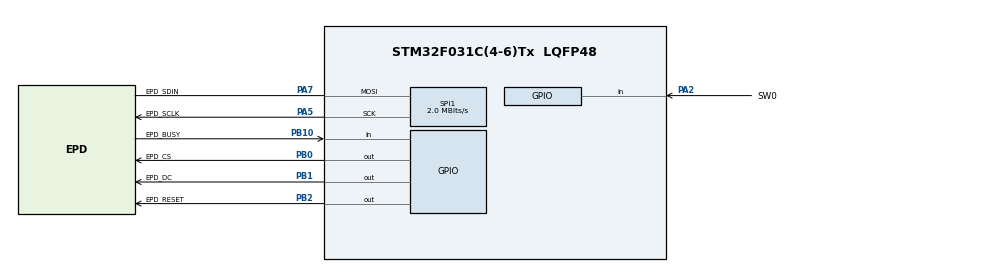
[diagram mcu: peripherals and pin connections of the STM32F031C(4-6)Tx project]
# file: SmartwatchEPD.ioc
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Mcu.Family=STM32F0
Mcu.Name=STM32F031C(4-6)Tx
Mcu.Package=LQFP48
PA2.GPIO_Label=SW0
PA2.GPIO_PuPd=GPIO_PULLUP
PA2.Signal=GPIO_Input
PA5.GPIO_Label=EPD_SCLK
PA5.Mode=Simplex_Bidirectional_Master
PA5.Signal=SPI1_SCK
PA7.GPIO_Label=EPD_SDIN
PA7.Mode=Simplex_Bidirectional_Master
PA7.Signal=SPI1_MOSI
PB0.GPIO_Label=EPD_CS
PB0.Signal=GPIO_Output
PB1.GPIO_Label=EPD_DC
PB1.Signal=GPIO_Output
PB10.GPIO_Label=EPD_BUSY
PB10.GPIO_PuPd=GPIO_PULLUP
PB10.Signal=GPIO_Input
PB2.GPIO_Label=EPD_RESET
PB2.Signal=GPIO_Output
ProjectManager.HeapSize=0x200
ProjectManager.StackSize=0x400
ProjectManager.TargetToolchain=TrueSTUDIO
SPI1.BaudRatePrescaler=SPI_BAUDRATEPRESCALER_4
SPI1.CalculateBaudRate=2.0 MBits/s
SPI1.DataSize=SPI_DATASIZE_8BIT
SPI1.Direction=SPI_DIRECTION_1LINE
SPI1.Mode=SPI_MODE_MASTER
SPI1.VirtualType=VM_MASTER
board=custom

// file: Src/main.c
/* USER CODE BEGIN Header */
/**
  ******************************************************************************
  * @file           : main.c
  * @brief          : Main program body
  ******************************************************************************
  ** This notice applies to any and all portions of this file
  * that are not between comment pairs USER CODE BEGIN and
  * USER CODE END. Other portions of this file, whether
  * inserted by the user or by software development tools
  * are owned by their respective copyright owners.
  *
  * COPYRIGHT(c) 2018 STMicroelectronics
  *
  * Redistribution and use in source and binary forms, with or without modification,
  * are permitted provided that the following conditions are met:
  *   1. Redistributions of source code must retain the above copyright notice,
  *      this list of conditions and the following disclaimer.
  *   2. Redistributions in binary form must reproduce the above copyright notice,
  *      this list of conditions and the following disclaimer in the documentation
  *      and/or other materials provided with the distribution.
  *   3. Neither the name of STMicroelectronics nor the names of its contributors
  *      may be used to endorse or promote products derived from this software
  *      without specific prior written permission.
  *
  * THIS SOFTWARE IS PROVIDED BY THE COPYRIGHT HOLDERS AND CONTRIBUTORS "AS IS"
  * AND ANY EXPRESS OR IMPLIED WARRANTIES, INCLUDING, BUT NOT LIMITED TO, THE
  * IMPLIED WARRANTIES OF MERCHANTABILITY AND FITNESS FOR A PARTICULAR PURPOSE ARE
  * DISCLAIMED. IN NO EVENT SHALL THE COPYRIGHT HOLDER OR CONTRIBUTORS BE LIABLE
  * FOR ANY DIRECT, INDIRECT, INCIDENTAL, SPECIAL, EXEMPLARY, OR CONSEQUENTIAL
  * DAMAGES (INCLUDING, BUT NOT LIMITED TO, PROCUREMENT OF SUBSTITUTE GOODS OR
  * SERVICES; LOSS OF USE, DATA, OR PROFITS; OR BUSINESS INTERRUPTION) HOWEVER
  * CAUSED AND ON ANY THEORY OF LIABILITY, WHETHER IN CONTRACT, STRICT LIABILITY,
  * OR TORT (INCLUDING NEGLIGENCE OR OTHERWISE) ARISING IN ANY WAY OUT OF THE USE
  * OF THIS SOFTWARE, EVEN IF ADVISED OF THE POSSIBILITY OF SUCH DAMAGE.
  *
  ******************************************************************************
  */
/* USER CODE END Header */

#include "main.h"

/* USER CODE BEGIN Includes */
#include "EPDlib.h"
/* USER CODE END Includes */

SPI_HandleTypeDef hspi1;

/* USER CODE BEGIN PV */

const uint8_t eti [] = {
0xFF, 0xFF, 0xFF, 0xFF, 0xFF, 0xFF, 0xFF, 0xFF, 0xFF, 0xFF, 0xFF, 0xFF, 0xFF, 0xFF, 0xFF, 0xFF,
0xFF, 0xFF, 0xFF, 0xFF, 0xFF, 0xFF, 0xFF, 0xFF, 0xFF, 0xFF, 0xFF, 0xFF, 0xFF, 0xFF, 0xFF, 0xFF,
0xFF, 0xFF, 0xFF, 0xFF, 0xFF, 0xFF, 0xFF, 0xFF, 0xFF, 0xFF, 0xFF, 0xFF, 0xFF, 0xFF, 0xFF, 0xFF,
0xFF, 0xFF, 0xFF, 0xFF, 0xFF, 0xFF, 0xFF, 0xFF, 0xFF, 0xFF, 0xFF, 0xFF, 0xFF, 0xFF, 0xFF, 0xFF,
0xFF, 0xFF, 0xFF, 0xFF, 0xFF, 0xFF, 0xFF, 0xFF, 0xFF, 0xFF, 0xFF, 0xFF, 0xFF, 0xFF, 0xFF, 0xFF,
0xFF, 0xFF, 0xFF, 0xFF, 0xFF, 0xFF, 0xFF, 0xFF, 0xFF, 0xFF, 0xFF, 0xFF, 0xFF, 0xFF, 0xFF, 0xFF,
0xFF, 0xFF, 0xFF, 0xFF, 0xFF, 0xFF, 0xFF, 0xFF, 0xFF, 0xFF, 0xFF, 0xFF, 0xFF, 0xFF, 0xFF, 0xFF,
0xFF, 0xFF, 0xFF, 0xFF, 0xFF, 0xFF, 0xFF, 0xFF, 0xFF, 0xFF, 0xFF, 0xFF, 0xFF, 0xFF, 0xFF, 0xFF,
0xFF, 0xFF, 0xFF, 0xFF, 0xFF, 0xFF, 0xFF, 0xFF, 0xFF, 0xFF, 0xFF, 0xFF, 0xFF, 0xFF, 0xFF, 0xFF,
0xFF, 0xFF, 0xFF, 0xFF, 0xFF, 0xFF, 0xFF, 0xFF, 0xFF, 0xFF, 0xFF, 0xFF, 0xFF, 0xFF, 0xFF, 0xFF,
0xFF, 0xFF, 0xFF, 0x07, 0x07, 0x07, 0x07, 0x07, 0x07, 0x07, 0x07, 0x07, 0x07, 0x07, 0x07, 0x07,
0x07, 0x07, 0x07, 0x07, 0x07, 0x07, 0x07, 0x07, 0x07, 0x07, 0x07, 0x07, 0x07, 0x07, 0x07, 0x07,
0x07, 0x07, 0x07, 0x07, 0x07, 0x07, 0x07, 0x07, 0x07, 0x07, 0x07, 0x07, 0x07, 0x07, 0x07, 0x07,
0x07, 0x07, 0x07, 0x07, 0x07, 0x07, 0x07, 0x07, 0x07, 0x07, 0x07, 0x07, 0x07, 0x07, 0x07, 0x07,
0x07, 0x07, 0x07, 0x07, 0x07, 0x07, 0x07, 0x07, 0x07, 0x07, 0xFF, 0xFF, 0xFF, 0xFF, 0xFF, 0xFF,
0xFF, 0xFF, 0xFF, 0xFF, 0xFF, 0x07, 0x07, 0x07, 0x07, 0x07, 0x07, 0x07, 0x07, 0x07, 0x07, 0x07,
0x07, 0x07, 0x07, 0x07, 0x07, 0x07, 0x07, 0x07, 0x07, 0x07, 0x07, 0x07, 0x07, 0x07, 0x07, 0x07,
0x07, 0x07, 0x07, 0x07, 0x07, 0x07, 0x07, 0x07, 0x07, 0x07, 0x07, 0x07, 0x07, 0x07, 0x07, 0x07,
0x07, 0x07, 0x07, 0x07, 0x07, 0x07, 0x07, 0x07, 0x07, 0x07, 0x07, 0x07, 0x07, 0x07, 0x07, 0x07,
0xFF, 0xFF, 0xFF, 0xFF, 0xFF, 0xFF, 0xFF, 0xFF, 0xFF, 0xFF, 0xFF, 0x00, 0x00, 0x00, 0x00, 0x00,
0x00, 0x00, 0x00, 0x00, 0x00, 0x00, 0x00, 0x00, 0x00, 0x00, 0x00, 0x00, 0x00, 0x00, 0x00, 0x00,
0x00, 0x00, 0x00, 0x00, 0x00, 0x00, 0x00, 0x00, 0x00, 0x00, 0x00, 0x00, 0x00, 0x00, 0x00, 0x00,
0x00, 0x00, 0x00, 0x00, 0x00, 0x00, 0x00, 0x00, 0x00, 0x00, 0x00, 0x00, 0x00, 0x00, 0x00, 0x00,
0x00, 0x00, 0x00, 0x00, 0x00, 0x00, 0x00, 0x00, 0x00, 0x00, 0x00, 0x00, 0x00, 0x00, 0x00, 0x00,
0x00, 0x00, 0xFF, 0xFF, 0xFF, 0xFF, 0xFF, 0xFF, 0xFF, 0xFF, 0xFF, 0xFF, 0xFF, 0x00, 0x00, 0x00,
0x00, 0x00, 0x00, 0x00, 0x00, 0x00, 0x00, 0x00, 0x00, 0x00, 0x00, 0x00, 0x00, 0x00, 0x00, 0x00,
0x00, 0x00, 0x00, 0x00, 0x00, 0x00, 0x00, 0x00, 0x00, 0x00, 0x00, 0x00, 0x00, 0x00, 0x00, 0x00,
0x00, 0x00, 0x00, 0x00, 0x00, 0x00, 0x00, 0x00, 0x00, 0x00, 0x00, 0x00, 0x00, 0x00, 0x00, 0x00,
0x00, 0x00, 0x00, 0x00, 0x00, 0x00, 0x00, 0x00, 0xFF, 0xFF, 0xFF, 0xFF, 0xFF, 0xFF, 0xFF, 0xFF,
0xFF, 0xFF, 0xFF, 0x00, 0x00, 0x00, 0x00, 0x00, 0x00, 0x00, 0x00, 0x00, 0x00, 0x00, 0x00, 0x00,
0x00, 0x00, 0x00, 0x00, 0x00, 0x00, 0x00, 0x00, 0x00, 0x00, 0x00, 0x00, 0x00, 0x00, 0x00, 0x00,
0x00, 0x00, 0x00, 0x00, 0x00, 0x00, 0x00, 0x00, 0x00, 0x00, 0x00, 0x00, 0x00, 0x00, 0x00, 0x00,
0x00, 0x00, 0x00, 0x00, 0x00, 0x00, 0x00, 0x00, 0x00, 0x00, 0x00, 0x00, 0x00, 0x00, 0x00, 0x00,
0x00, 0x00, 0x00, 0x00, 0x00, 0x00, 0x00, 0x00, 0x00, 0x00, 0xFF, 0xFF, 0xFF, 0xFF, 0xFF, 0xFF,
0xFF, 0xFF, 0xFF, 0xFF, 0xFF, 0x00, 0x00, 0x00, 0x00, 0x00, 0x00, 0x00, 0x00, 0x00, 0x00, 0x00,
0x00, 0x00, 0x00, 0x00, 0x00, 0x00, 0x00, 0x00, 0x00, 0x00, 0x00, 0x00, 0x00, 0x00, 0x00, 0x00,
0x00, 0x00, 0x00, 0x00, 0x00, 0x00, 0x00, 0x00, 0x00, 0x00, 0x00, 0x00, 0x00, 0x00, 0x00, 0x00,
0x00, 0x00, 0x00, 0x00, 0x00, 0x00, 0x00, 0x00, 0x00, 0x00, 0x00, 0x00, 0x00, 0x00, 0x00, 0x00,
0xFF, 0xFF, 0xFF, 0xFF, 0xFF, 0xFF, 0xFF, 0xFF, 0xFF, 0xFF, 0xFF, 0x00, 0x00, 0x00, 0x00, 0x00,
0x00, 0x00, 0x00, 0x00, 0x00, 0x00, 0x00, 0x00, 0x00, 0x00, 0x00, 0x00, 0x00, 0x00, 0x00, 0x00,
0x00, 0x00, 0x00, 0x00, 0x00, 0x00, 0x00, 0x00, 0x00, 0x00, 0x00, 0x00, 0x00, 0x00, 0x00, 0x00,
0x00, 0x00, 0x00, 0x00, 0x00, 0x00, 0x00, 0x00, 0x00, 0x00, 0x00, 0x00, 0x00, 0x00, 0x00, 0x00,
0x00, 0x00, 0x00, 0x00, 0x00, 0x00, 0x00, 0x00, 0x00, 0x00, 0x00, 0x00, 0x00, 0x00, 0x00, 0x00,
0x00, 0x00, 0xFF, 0xFF, 0xFF, 0xFF, 0xFF, 0xFF, 0xFF, 0xFF, 0xFF, 0xFF, 0xFF, 0x00, 0x00, 0x00,
0x00, 0x00, 0x00, 0x00, 0x00, 0x00, 0x00, 0x00, 0x00, 0x00, 0x00, 0x00, 0x00, 0x00, 0x00, 0x00,
0x00, 0x00, 0x00, 0x00, 0x00, 0x00, 0x00, 0x00, 0x00, 0x00, 0x00, 0x00, 0x00, 0x00, 0x00, 0x00,
0x00, 0x00, 0x00, 0x00, 0x00, 0x00, 0x00, 0x00, 0x00, 0x00, 0x00, 0x00, 0x00, 0x00, 0x00, 0x00,
0x00, 0x00, 0x00, 0x00, 0x00, 0x00, 0x00, 0x00, 0xFF, 0xFF, 0xFF, 0xFF, 0xFF, 0xFF, 0xFF, 0xFF,
0xFF, 0xFF, 0xFF, 0x00, 0x00, 0x00, 0x00, 0x00, 0x00, 0x00, 0x00, 0x00, 0x00, 0x00, 0x00, 0x00,
0x00, 0x00, 0x00, 0x00, 0x00, 0x00, 0x00, 0x00, 0x00, 0x00, 0x00, 0x00, 0x00, 0x00, 0x00, 0x00,
0x00, 0x00, 0x00, 0x00, 0x00, 0x00, 0x00, 0x00, 0x00, 0x00, 0x00, 0x00, 0x00, 0x00, 0x00, 0x00,
0x00, 0x00, 0x00, 0x00, 0x00, 0x00, 0x00, 0x00, 0x00, 0x00, 0x00, 0x00, 0x00, 0x00, 0x00, 0x00,
0x00, 0x00, 0x00, 0x00, 0x00, 0x00, 0x00, 0x00, 0x00, 0x00, 0xFF, 0xFF, 0xFF, 0xFF, 0xFF, 0xFF,
0xFF, 0xFF, 0xFF, 0xFF, 0xFF, 0x00, 0x00, 0x00, 0x00, 0x00, 0x00, 0x00, 0x00, 0x00, 0x00, 0x00,
0x00, 0x00, 0x00, 0x00, 0x00, 0x00, 0x00, 0x00, 0x00, 0x00, 0x00, 0x00, 0x00, 0x00, 0x00, 0x00,
0x00, 0x00, 0x00, 0x00, 0x00, 0x00, 0x00, 0x00, 0x00, 0x00, 0x00, 0x00, 0x00, 0x00, 0x00, 0x00,
0x00, 0x00, 0x00, 0x00, 0x00, 0x00, 0x00, 0x00, 0x00, 0x00, 0x00, 0x00, 0x00, 0x00, 0x00, 0x00,
0xFF, 0xFF, 0xFF, 0xFF, 0xFF, 0xFF, 0xFF, 0xFF, 0xFF, 0xFF, 0xFF, 0x00, 0x00, 0x00, 0x00, 0x00,
0x00, 0x00, 0x00, 0x00, 0x00, 0x00, 0x00, 0x00, 0x00, 0x00, 0x00, 0x00, 0x00, 0x00, 0x00, 0x00,
0x00, 0x00, 0x00, 0x00, 0x00, 0x00, 0x00, 0x00, 0x00, 0x00, 0x00, 0x00, 0x00, 0x00, 0x00, 0x00,
0x00, 0x00, 0x00, 0x00, 0x00, 0x00, 0x00, 0x00, 0x00, 0x00, 0x00, 0x00, 0x00, 0x00, 0x00, 0x00,
0x00, 0x00, 0x00, 0x00, 0x00, 0x00, 0x00, 0x00, 0x00, 0x00, 0x00, 0x00, 0x00, 0x00, 0x00, 0x00,
0x00, 0x00, 0xFF, 0xFF, 0xFF, 0xFF, 0xFF, 0xFF, 0xFF, 0xFF, 0xFF, 0xFF, 0xFF, 0x00, 0x00, 0x00,
0x00, 0x00, 0x00, 0x00, 0x00, 0x00, 0x00, 0x00, 0x00, 0x00, 0x00, 0x00, 0x00, 0x00, 0x00, 0x00,
0x00, 0x00, 0x00, 0x00, 0x00, 0x00, 0x00, 0x00, 0x00, 0x00, 0x00, 0x00, 0x00, 0x00, 0x00, 0x00,
0x00, 0x00, 0x00, 0x00, 0x00, 0x00, 0x00, 0x00, 0x00, 0x00, 0x00, 0x00, 0x00, 0x00, 0x00, 0x00,
0x00, 0x00, 0x00, 0x00, 0x00, 0x00, 0x00, 0x00, 0xFF, 0xFF, 0xFF, 0xFF, 0xFF, 0xFF, 0xFF, 0xFF,
0xFF, 0xFF, 0xFF, 0x00, 0x00, 0x00, 0x00, 0x00, 0x00, 0x00, 0x00, 0x00, 0x00, 0x00, 0x00, 0x00,
0x00, 0x00, 0x00, 0x00, 0x00, 0x00, 0x00, 0x00, 0x00, 0x00, 0x00, 0x00, 0x00, 0x00, 0x00, 0x00,
0x00, 0x00, 0x00, 0x00, 0x00, 0x00, 0x00, 0x00, 0x00, 0x00, 0x00, 0x00, 0x00, 0x00, 0x00, 0x00,
0x00, 0x00, 0x00, 0x00, 0x00, 0xE0, 0xE0, 0xE0, 0xE0, 0xE0, 0xE0, 0xE0, 0xE0, 0xE0, 0xE0, 0xE0,
0xE0, 0xE0, 0xE0, 0xE0, 0xE0, 0xE0, 0xE0, 0xE0, 0xE0, 0xE0, 0xFF, 0xFF, 0xFF, 0xFF, 0xFF, 0xFF,
0xFF, 0xFF, 0xFF, 0xFF, 0xFF, 0xE0, 0xE0, 0xE0, 0xE0, 0xE0, 0xE0, 0xE0, 0xE0, 0xE0, 0xE0, 0xE0,
0xE0, 0xE0, 0xE0, 0xE0, 0xE0, 0xE0, 0xE0, 0xE0, 0xE0, 0xE0, 0xE0, 0xE0, 0xE0, 0xE0, 0xE0, 0xE0,
0xE0, 0xE0, 0xE0, 0xE0, 0xE0, 0xE0, 0xE0, 0xE0, 0xE0, 0xE0, 0xE0, 0xE0, 0xE0, 0xE0, 0xE0, 0xE0,
0xE0, 0xE0, 0xE0, 0xE0, 0xE0, 0xE0, 0xE0, 0xE0, 0xE0, 0xE0, 0xE0, 0xE0, 0xE0, 0x00, 0x00, 0x00,
0xFF, 0xFF, 0xFF, 0xFF, 0xFF, 0xFF, 0xFF, 0xFF, 0xFF, 0xFF, 0xFF, 0x00, 0x00, 0x00, 0x00, 0x00,
0x00, 0x00, 0x00, 0x00, 0x00, 0x00, 0x00, 0x00, 0x00, 0x00, 0x00, 0x00, 0x00, 0x00, 0x00, 0x00,
0x00, 0x00, 0x00, 0x00, 0x00, 0x00, 0x00, 0x00, 0x00, 0x00, 0x00, 0x00, 0x00, 0x00, 0x00, 0x00,
0x00, 0x00, 0x00, 0x00, 0x00, 0x00, 0x00, 0x00, 0x00, 0x00, 0x00, 0x00, 0x00, 0xFF, 0xFF, 0xFF,
0xFF, 0xFF, 0xFF, 0xFF, 0xFF, 0xFF, 0xFF, 0xFF, 0xFF, 0xFF, 0xFF, 0xFF, 0xFF, 0xFF, 0xFF, 0xFF,
0xFF, 0xFF, 0xFF, 0xFF, 0xFF, 0xFF, 0xFF, 0xFF, 0xFF, 0xFF, 0xFF, 0xFF, 0xFF, 0xFF, 0xFF, 0xFF,
0xFF, 0xFF, 0xFF, 0xFF, 0xFF, 0xFF, 0xFF, 0xFF, 0xFF, 0xFF, 0xFF, 0xFF, 0xFF, 0xFF, 0xFF, 0xFF,
0xFF, 0xFF, 0xFF, 0xFF, 0xFF, 0xFF, 0xFF, 0xFF, 0xFF, 0xFF, 0xFF, 0xFF, 0xFF, 0xFF, 0xFF, 0xFF,
0xFF, 0xFF, 0xFF, 0xFF, 0xFF, 0xFF, 0xFF, 0xFF, 0xFF, 0xFF, 0xFF, 0xFF, 0xFF, 0xFF, 0xFF, 0xFF,
0xFF, 0xFF, 0xFF, 0xFF, 0xFF, 0x00, 0x00, 0x00, 0xFF, 0xFF, 0xFF, 0xFF, 0xFF, 0xFF, 0xFF, 0xFF,
0xFF, 0xFF, 0xFF, 0x00, 0x00, 0x00, 0x00, 0x00, 0x00, 0x00, 0x00, 0x00, 0x00, 0x00, 0x00, 0x00,
0x00, 0x00, 0x00, 0x00, 0x00, 0x00, 0x00, 0x00, 0x00, 0x00, 0x00, 0x00, 0x00, 0x00, 0x00, 0x00,
0x00, 0x00, 0x00, 0x00, 0x00, 0x00, 0x00, 0x00, 0x00, 0x00, 0x00, 0x00, 0x00, 0x00, 0x00, 0x00,
0x00, 0x00, 0x00, 0x00, 0x00, 0xFF, 0xFF, 0xFF, 0xFF, 0xFF, 0xFF, 0xFF, 0xFF, 0xFF, 0xFF, 0xFF,
0xFF, 0xFF, 0xFF, 0xFF, 0xFF, 0xFF, 0xFF, 0xFF, 0xFF, 0xFF, 0xFF, 0xFF, 0xFF, 0xFF, 0xFF, 0xFF,
0xFF, 0xFF, 0xFF, 0xFF, 0xFF, 0xFF, 0xFF, 0xFF, 0xFF, 0xFF, 0xFF, 0xFF, 0xFF, 0xFF, 0xFF, 0xFF,
0xFF, 0xFF, 0xFF, 0xFF, 0xFF, 0xFF, 0xFF, 0xFF, 0xFF, 0xFF, 0xFF, 0xFF, 0xFF, 0xFF, 0xFF, 0xFF,
0xFF, 0xFF, 0xFF, 0xFF, 0xFF, 0xFF, 0xFF, 0xFF, 0xFF, 0xFF, 0xFF, 0xFF, 0xFF, 0xFF, 0xFF, 0xFF,
0xFF, 0xFF, 0xFF, 0xFF, 0xFF, 0xFF, 0xFF, 0xFF, 0xFF, 0xFF, 0xFF, 0xFF, 0xFF, 0x00, 0x00, 0x00,
0xFF, 0xFF, 0xFF, 0xFF, 0xFF, 0xFF, 0xFF, 0xFF, 0xFF, 0xFF, 0xFF, 0x00, 0x00, 0x00, 0x00, 0x00,
0x00, 0x00, 0x00, 0x00, 0x00, 0x00, 0x00, 0x00, 0x00, 0x00, 0x00, 0x00, 0x00, 0x00, 0x00, 0x00,
0x00, 0x00, 0x00, 0x00, 0x00, 0x00, 0x00, 0x00, 0x00, 0x00, 0x00, 0x00, 0x00, 0x00, 0x00, 0x00,
0x00, 0x00, 0x00, 0x00, 0x00, 0x00, 0x00, 0x00, 0x00, 0x00, 0x00, 0x00, 0x00, 0xFF, 0xFF, 0xFF,
0xFF, 0xFF, 0xFF, 0xFF, 0xFF, 0xFF, 0xFF, 0xFF, 0xFF, 0xFF, 0xFF, 0xFF, 0xFF, 0xFF, 0xFF, 0xFF,
0xFF, 0xFF, 0xFF, 0xFF, 0xFF, 0xFF, 0xFF, 0xFF, 0xFF, 0xFF, 0xFF, 0xFF, 0xFF, 0xFF, 0xFF, 0xFF,
0xFF, 0xFF, 0xFF, 0xFF, 0xFF, 0xFF, 0xFF, 0xFF, 0xFF, 0xFF, 0xFF, 0xFF, 0xFF, 0xFF, 0xFF, 0xFF,
0xFF, 0xFF, 0xFF, 0xFF, 0xFF, 0xFF, 0xFF, 0xFF, 0xFF, 0xFF, 0xFF, 0xFF, 0xFF, 0xFF, 0xFF, 0xFF,
0xFF, 0xFF, 0xFF, 0xFF, 0xFF, 0xFF, 0xFF, 0xFF, 0xFF, 0xFF, 0xFF, 0xFF, 0xFF, 0xFF, 0xFF, 0xFF,
0xFF, 0xFF, 0xFF, 0xFF, 0xFF, 0x00, 0x00, 0x00, 0xFF, 0xFF, 0xFF, 0xFF, 0xFF, 0xFF, 0xFF, 0xFF,
0xFF, 0xFF, 0xFF, 0x00, 0x00, 0x00, 0x00, 0x00, 0x00, 0x00, 0x00, 0x00, 0x00, 0x00, 0x00, 0x00,
0x00, 0x00, 0x00, 0x00, 0x00, 0x00, 0x00, 0x00, 0x00, 0x00, 0x00, 0x00, 0x00, 0x00, 0x00, 0x00,
0x00, 0x00, 0x00, 0x00, 0x00, 0x00, 0x00, 0x00, 0x00, 0x00, 0x00, 0x00, 0x00, 0x00, 0x00, 0x00,
0x00, 0x00, 0x00, 0x00, 0x00, 0xFF, 0xFF, 0xFF, 0xFF, 0xFF, 0xFF, 0xFF, 0xFF, 0xFF, 0xFF, 0xFF,
0xFF, 0xFF, 0xFF, 0xFF, 0xFF, 0xFF, 0xFF, 0xFF, 0xFF, 0xFF, 0xFF, 0xFF, 0xFF, 0xFF, 0xFF, 0xFF,
0xFF, 0xFF, 0xFF, 0xFF, 0xFF, 0xFF, 0xFF, 0xFF, 0xFF, 0xFF, 0xFF, 0xFF, 0xFF, 0xFF, 0xFF, 0xFF,
0xFF, 0xFF, 0xFF, 0xFF, 0xFF, 0xFF, 0xFF, 0xFF, 0xFF, 0xFF, 0xFF, 0xFF, 0xFF, 0xFF, 0xFF, 0xFF,
0xFF, 0xFF, 0xFF, 0xFF, 0xFF, 0xFF, 0xFF, 0xFF, 0xFF, 0xFF, 0xFF, 0xFF, 0xFF, 0xFF, 0xFF, 0xFF,
0xFF, 0xFF, 0xFF, 0xFF, 0xFF, 0xFF, 0xFF, 0xFF, 0xFF, 0xFF, 0xFF, 0xFF, 0xFF, 0x00, 0x00, 0x00,
0xFF, 0xFF, 0xFF, 0xFF, 0xFF, 0xFF, 0xFF, 0xFF, 0xFF, 0xFF, 0xFF, 0x00, 0x00, 0x00, 0x00, 0x00,
0x00, 0x00, 0x00, 0x00, 0x00, 0x00, 0x00, 0x00, 0x00, 0x00, 0x00, 0x00, 0x00, 0x00, 0x00, 0x00,
0x00, 0x00, 0x00, 0x00, 0x00, 0x00, 0x00, 0x00, 0x00, 0x00, 0x00, 0x00, 0x00, 0x00, 0x00, 0x00,
0x00, 0x00, 0x00, 0x00, 0x00, 0x00, 0x00, 0x00, 0x00, 0x00, 0x00, 0x00, 0x00, 0xFF, 0xFF, 0xFF,
0xFF, 0xFF, 0xFF, 0xFF, 0xFF, 0xFF, 0xFF, 0xFF, 0xFF, 0xFF, 0xFF, 0xFF, 0xFF, 0xFF, 0xFF, 0xFF,
0xFF, 0xFF, 0xFF, 0xFF, 0xFF, 0xFF, 0xFF, 0xFF, 0xFF, 0xFF, 0xFF, 0xFF, 0xFF, 0xFF, 0xFF, 0xFF,
0xFF, 0xFF, 0xFF, 0xFF, 0xFF, 0xFF, 0xFF, 0xFF, 0xFF, 0xFF, 0xFF, 0xFF, 0xFF, 0xFF, 0xFF, 0xFF,
0xFF, 0xFF, 0xFF, 0xFF, 0xFF, 0xFF, 0xFF, 0xFF, 0xFF, 0xFF, 0xFF, 0xFF, 0xFF, 0xFF, 0xFF, 0xFF,
0xFF, 0xFF, 0xFF, 0xFF, 0xFF, 0xFF, 0xFF, 0xFF, 0xFF, 0xFF, 0xFF, 0xFF, 0xFF, 0xFF, 0xFF, 0xFF,
0xFF, 0xFF, 0xFF, 0xFF, 0xFF, 0x00, 0x00, 0x00, 0xFF, 0xFF, 0xFF, 0xFF, 0xFF, 0xFF, 0xFF, 0xFF,
0xFF, 0xFF, 0xFF, 0x00, 0x00, 0x00, 0x00, 0x00, 0x00, 0x00, 0x00, 0x00, 0x00, 0x00, 0x00, 0x00,
0x00, 0x00, 0x00, 0x00, 0x00, 0x00, 0x00, 0x00, 0x00, 0x00, 0x00, 0x00, 0x00, 0x00, 0x00, 0x00,
0x00, 0x00, 0x00, 0x00, 0x00, 0x00, 0x00, 0x00, 0x00, 0x00, 0x00, 0x00, 0x00, 0x00, 0x00, 0x00,
0x00, 0x00, 0x00, 0x00, 0x00, 0xFF, 0xFF, 0xFF, 0xFF, 0xFF, 0xFF, 0xFF, 0xFF, 0xFF, 0xFF, 0xFF,
0xFF, 0xFF, 0xFF, 0xFF, 0xFF, 0xFF, 0xFF, 0xFF, 0xFF, 0xFF, 0xFF, 0xFF, 0xFF, 0xFF, 0xFF, 0xFF,
0xFF, 0xFF, 0xFF, 0xFF, 0xFF, 0xFF, 0xFF, 0xFF, 0xFF, 0xFF, 0xFF, 0xFF, 0xFF, 0xFF, 0xFF, 0xFF,
0xFF, 0xFF, 0xFF, 0xFF, 0xFF, 0xFF, 0xFF, 0xFF, 0xFF, 0xFF, 0xFF, 0xFF, 0xFF, 0xFF, 0xFF, 0xFF,
0xFF, 0xFF, 0xFF, 0xFF, 0xFF, 0xFF, 0xFF, 0xFF, 0xFF, 0xFF, 0xFF, 0xFF, 0xFF, 0xFF, 0xFF, 0xFF,
0xFF, 0xFF, 0xFF, 0xFF, 0xFF, 0xFF, 0xFF, 0xFF, 0xFF, 0xFF, 0xFF, 0xFF, 0xFF, 0x00, 0x00, 0x00,
0xFF, 0xFF, 0xFF, 0xFF, 0xFF, 0xFF, 0xFF, 0xFF, 0xFF, 0xFF, 0xFF, 0x00, 0x00, 0x00, 0x00, 0x00,
0x00, 0x00, 0x00, 0x00, 0x00, 0x00, 0x00, 0x00, 0x00, 0x00, 0x00, 0x00, 0x00, 0x00, 0x00, 0x00,
0x00, 0x00, 0x00, 0x00, 0x00, 0x00, 0x00, 0x00, 0x00, 0x00, 0x00, 0x00, 0x00, 0x00, 0x00, 0x00,
0x00, 0x00, 0x00, 0x00, 0x00, 0x00, 0x00, 0x00, 0x00, 0x00, 0x00, 0x00, 0x00, 0xFF, 0xFF, 0xFF,
0xFF, 0xFF, 0xFF, 0xFF, 0xFF, 0xFF, 0xFF, 0xFF, 0xFF, 0xFF, 0xFF, 0xFF, 0xFF, 0xFF, 0xFF, 0xFF,
0xFF, 0xFF, 0xFF, 0xFF, 0xFF, 0xFF, 0xFF, 0xFF, 0xFF, 0xFF, 0xFF, 0xFF, 0xFF, 0xFF, 0xFF, 0xFF,
0xFF, 0xFF, 0xFF, 0xFF, 0xFF, 0xFF, 0xFF, 0xFF, 0xFF, 0xFF, 0xFF, 0xFF, 0xFF, 0xFF, 0xFF, 0xFF,
0xFF, 0xFF, 0xFF, 0xFF, 0xFF, 0xFF, 0xFF, 0xFF, 0xFF, 0xFF, 0xFF, 0xFF, 0xFF, 0xFF, 0xFF, 0xFF,
0xFF, 0xFF, 0xFF, 0xFF, 0xFF, 0xFF, 0xFF, 0xFF, 0xFF, 0xFF, 0xFF, 0xFF, 0xFF, 0xFF, 0xFF, 0xFF,
0xFF, 0xFF, 0xFF, 0xFF, 0xFF, 0x00, 0x00, 0x00, 0xFF, 0xFF, 0xFF, 0xFF, 0xFF, 0xFF, 0xFF, 0xFF,
0xFF, 0xFF, 0xFF, 0x00, 0x00, 0x00, 0x00, 0x00, 0x00, 0x00, 0x00, 0x00, 0x00, 0x00, 0x00, 0x00,
0x00, 0x00, 0x00, 0x00, 0x00, 0x00, 0x00, 0x00, 0x00, 0x00, 0x00, 0x00, 0x00, 0x00, 0x00, 0x00,
0x00, 0x00, 0x00, 0x00, 0x00, 0x00, 0x00, 0x00, 0x00, 0x00, 0x00, 0x00, 0x00, 0x00, 0x00, 0x00,
0x00, 0x00, 0x00, 0x00, 0x00, 0x0F, 0x0F, 0x0F, 0x0F, 0x0F, 0x0F, 0x0F, 0x0F, 0x0F, 0x0F, 0x0F,
0x0F, 0x0F, 0x0F, 0x0F, 0x0F, 0x0F, 0x0F, 0x0F, 0x0F, 0x0F, 0x0F, 0x0F, 0x0F, 0x0F, 0x0F, 0x0F,
0x0F, 0x0F, 0x0F, 0x0F, 0x0F, 0x0F, 0x0F, 0x0F, 0x0F, 0x0F, 0x0F, 0x0F, 0x0F, 0x0F, 0x0F, 0x0F,
0x0F, 0x0F, 0x0F, 0x0F, 0x0F, 0x0F, 0x0F, 0x0F, 0xFF, 0xFF, 0xFF, 0xFF, 0xFF, 0xFF, 0xFF, 0xFF,
0xFF, 0xFF, 0xFF, 0xFF, 0xFF, 0xFF, 0xFF, 0xFF, 0xFF, 0xFF, 0xFF, 0xFF, 0xFF, 0xFF, 0xFF, 0xFF,
0xFF, 0xFF, 0xFF, 0xFF, 0xFF, 0xFF, 0xFF, 0xFF, 0xFF, 0xFF, 0xFF, 0xFF, 0xFF, 0x00, 0x00, 0x00,
0xFF, 0xFF, 0xFF, 0xFF, 0xFF, 0xFF, 0xFF, 0xFF, 0xFF, 0xFF, 0xFF, 0x00, 0x00, 0x00, 0x00, 0x00,
0x00, 0x00, 0x00, 0x00, 0x00, 0x00, 0x00, 0x00, 0x00, 0x00, 0x00, 0x00, 0x00, 0x00, 0x00, 0x00,
0x00, 0x00, 0x00, 0x00, 0x00, 0x00, 0x00, 0x00, 0x00, 0x00, 0x00, 0x00, 0x00, 0x00, 0x00, 0x00,
0x00, 0x00, 0x00, 0x00, 0x00, 0x00, 0x00, 0x00, 0x00, 0x00, 0x00, 0x00, 0x00, 0x00, 0x00, 0x00,
0x00, 0x00, 0x00, 0x00, 0x00, 0x00, 0x00, 0x00, 0x00, 0x00, 0x00, 0x00, 0x00, 0x00, 0x00, 0x00,
0x00, 0x00, 0x00, 0x00, 0x00, 0x00, 0x00, 0x00, 0x00, 0x00, 0x00, 0x00, 0x00, 0x00, 0x00, 0x00,
0x00, 0x00, 0x00, 0x00, 0x00, 0x00, 0x00, 0x00, 0x00, 0x00, 0x00, 0x00, 0x00, 0x00, 0x00, 0x00,
0xFF, 0xFF, 0xFF, 0xFF, 0xFF, 0xFF, 0xFF, 0xFF, 0xFF, 0xFF, 0xFF, 0xFF, 0xFF, 0xFF, 0xFF, 0xFF,
0xFF, 0xFF, 0xFF, 0xFF, 0xFF, 0xFF, 0xFF, 0xFF, 0xFF, 0xFF, 0xFF, 0xFF, 0xFF, 0xFF, 0xFF, 0xFF,
0xFF, 0xFF, 0xFF, 0xFF, 0xFF, 0x00, 0x00, 0x00, 0xFF, 0xFF, 0xFF, 0xFF, 0xFF, 0xFF, 0xFF, 0xFF,
0xFF, 0xFF, 0xFF, 0x00, 0x00, 0x00, 0x00, 0x00, 0x00, 0x00, 0x00, 0x00, 0x00, 0x00, 0x00, 0x00,
0x00, 0x00, 0x00, 0x00, 0x00, 0x00, 0x00, 0x00, 0x00, 0x00, 0x00, 0x00, 0x00, 0x00, 0x00, 0x00,
0x00, 0x00, 0x00, 0x00, 0x00, 0x00, 0x00, 0x00, 0x00, 0x00, 0x00, 0x00, 0x00, 0x00, 0x00, 0x00,
0x00, 0x00, 0x00, 0x00, 0x00, 0x00, 0x00, 0x00, 0x00, 0x00, 0x00, 0x00, 0x00, 0x00, 0x00, 0x00,
0x00, 0x00, 0x00, 0x00, 0x00, 0x00, 0x00, 0x00, 0x00, 0x00, 0x00, 0x00, 0x00, 0x00, 0x00, 0x00,
0x00, 0x00, 0x00, 0x00, 0x00, 0x00, 0x00, 0x00, 0x00, 0x00, 0x00, 0x00, 0x00, 0x00, 0x00, 0x00,
0x00, 0x00, 0x00, 0x00, 0x00, 0x00, 0x00, 0x00, 0xFF, 0xFF, 0xFF, 0xFF, 0xFF, 0xFF, 0xFF, 0xFF,
0xFF, 0xFF, 0xFF, 0xFF, 0xFF, 0xFF, 0xFF, 0xFF, 0xFF, 0xFF, 0xFF, 0xFF, 0xFF, 0xFF, 0xFF, 0xFF,
0xFF, 0xFF, 0xFF, 0xFF, 0xFF, 0xFF, 0xFF, 0xFF, 0xFF, 0xFF, 0xFF, 0xFF, 0xFF, 0x00, 0x00, 0x00,
0xFF, 0xFF, 0xFF, 0xFF, 0xFF, 0xFF, 0xFF, 0xFF, 0xFF, 0xFF, 0xFF, 0x00, 0x00, 0x00, 0x00, 0x00,
0x00, 0x00, 0x00, 0x00, 0x00, 0x00, 0x00, 0x00, 0x00, 0x00, 0x00, 0x00, 0x00, 0x00, 0x00, 0x00,
0x00, 0x00, 0x00, 0x00, 0x00, 0x00, 0x00, 0x00, 0x00, 0x00, 0x00, 0x00, 0x00, 0x00, 0x00, 0x00,
0x00, 0x00, 0x00, 0x00, 0x00, 0x00, 0x00, 0x00, 0x00, 0x00, 0x00, 0x00, 0x00, 0x00, 0x00, 0x00,
0x00, 0x00, 0x00, 0x00, 0x00, 0x00, 0x00, 0x00, 0x00, 0x00, 0x00, 0x00, 0x00, 0x00, 0x00, 0x00,
0x00, 0x00, 0x00, 0x00, 0x00, 0x00, 0x00, 0x00, 0x00, 0x00, 0x00, 0x00, 0x00, 0x00, 0x00, 0x00,
0x00, 0x00, 0x00, 0x00, 0x00, 0x00, 0x00, 0x00, 0x00, 0x00, 0x00, 0x00, 0x00, 0x00, 0x00, 0x00,
0xFF, 0xFF, 0xFF, 0xFF, 0xFF, 0xFF, 0xFF, 0xFF, 0xFF, 0xFF, 0xFF, 0xFF, 0xFF, 0xFF, 0xFF, 0xFF,
0xFF, 0xFF, 0xFF, 0xFF, 0xFF, 0xFF, 0xFF, 0xFF, 0xFF, 0xFF, 0xFF, 0xFF, 0xFF, 0xFF, 0xFF, 0xFF,
0xFF, 0xFF, 0xFF, 0xFF, 0xFF, 0x00, 0x00, 0x00,
};

/* USER CODE END PV */

void SystemClock_Config(void);
static void MX_GPIO_Init(void);
static void MX_SPI1_Init(void);

int main(void)
{

  /* MCU Configuration--------------------------------------------------------*/

  /* Reset of all peripherals, Initializes the Flash interface and the Systick. */
  HAL_Init();

  /* Configure the system clock */
  SystemClock_Config();

  /* Initialize all configured peripherals */
  MX_GPIO_Init();
  MX_SPI1_Init();
  /* USER CODE BEGIN 2 */
  EPDlib_Start();
  EPDlib_White();
  EPDlib_Update();

  HAL_Delay(1000);

  EPDlib_Start();
  EPDlib_Black();
  EPDlib_Update();

  HAL_Delay(1000);

  EPDlib_Start();
  EPDlib_Image(eti);
  EPDlib_Update();

  HAL_Delay(1000);

  EPDlib_Start();
  EPDlib_White();
  EPDlib_Update();

  HAL_Delay(1000);

  EPDlib_Start();
  EPDlib_Black();
  EPDlib_Update();

  /* USER CODE END 2 */

  /* Infinite loop */
  while (1)
  {

  }
}

void SystemClock_Config(void)
{
  RCC_OscInitTypeDef RCC_OscInitStruct = {0};
  RCC_ClkInitTypeDef RCC_ClkInitStruct = {0};

  /** Initializes the CPU, AHB and APB busses clocks
  */
  RCC_OscInitStruct.OscillatorType = RCC_OSCILLATORTYPE_HSI;
  RCC_OscInitStruct.HSIState = RCC_HSI_ON;
  RCC_OscInitStruct.HSICalibrationValue = RCC_HSICALIBRATION_DEFAULT;
  RCC_OscInitStruct.PLL.PLLState = RCC_PLL_NONE;
  if (HAL_RCC_OscConfig(&RCC_OscInitStruct) != HAL_OK)
  {
    Error_Handler();
  }
  /** Initializes the CPU, AHB and APB busses clocks
  */
  RCC_ClkInitStruct.ClockType = RCC_CLOCKTYPE_HCLK|RCC_CLOCKTYPE_SYSCLK
                              |RCC_CLOCKTYPE_PCLK1;
  RCC_ClkInitStruct.SYSCLKSource = RCC_SYSCLKSOURCE_HSI;
  RCC_ClkInitStruct.AHBCLKDivider = RCC_SYSCLK_DIV1;
  RCC_ClkInitStruct.APB1CLKDivider = RCC_HCLK_DIV1;

  if (HAL_RCC_ClockConfig(&RCC_ClkInitStruct, FLASH_LATENCY_0) != HAL_OK)
  {
    Error_Handler();
  }
}

static void MX_SPI1_Init(void)
{

  /* SPI1 parameter configuration*/
  hspi1.Instance = SPI1;
  hspi1.Init.Mode = SPI_MODE_MASTER;
  hspi1.Init.Direction = SPI_DIRECTION_1LINE;
  hspi1.Init.DataSize = SPI_DATASIZE_8BIT;
  hspi1.Init.CLKPolarity = SPI_POLARITY_LOW;
  hspi1.Init.CLKPhase = SPI_PHASE_1EDGE;
  hspi1.Init.NSS = SPI_NSS_SOFT;
  hspi1.Init.BaudRatePrescaler = SPI_BAUDRATEPRESCALER_4;
  hspi1.Init.FirstBit = SPI_FIRSTBIT_MSB;
  hspi1.Init.TIMode = SPI_TIMODE_DISABLE;
  hspi1.Init.CRCCalculation = SPI_CRCCALCULATION_DISABLE;
  hspi1.Init.CRCPolynomial = 7;
  hspi1.Init.CRCLength = SPI_CRC_LENGTH_DATASIZE;
  hspi1.Init.NSSPMode = SPI_NSS_PULSE_ENABLE;
  if (HAL_SPI_Init(&hspi1) != HAL_OK)
  {
    Error_Handler();
  }

}

static void MX_GPIO_Init(void)
{
  GPIO_InitTypeDef GPIO_InitStruct = {0};

  /* GPIO Ports Clock Enable */
  __HAL_RCC_GPIOA_CLK_ENABLE();
  __HAL_RCC_GPIOB_CLK_ENABLE();

  /*Configure GPIO pin Output Level */
  HAL_GPIO_WritePin(GPIOB, EPD_CS_Pin|EPD_DC_Pin|EPD_RESET_Pin, GPIO_PIN_RESET);

  /*Configure GPIO pin : SW0_Pin */
  GPIO_InitStruct.Pin = SW0_Pin;
  GPIO_InitStruct.Mode = GPIO_MODE_INPUT;
  GPIO_InitStruct.Pull = GPIO_PULLUP;
  HAL_GPIO_Init(SW0_GPIO_Port, &GPIO_InitStruct);

  /*Configure GPIO pins : EPD_CS_Pin EPD_DC_Pin EPD_RESET_Pin */
  GPIO_InitStruct.Pin = EPD_CS_Pin|EPD_DC_Pin|EPD_RESET_Pin;
  GPIO_InitStruct.Mode = GPIO_MODE_OUTPUT_PP;
  GPIO_InitStruct.Pull = GPIO_NOPULL;
  GPIO_InitStruct.Speed = GPIO_SPEED_FREQ_LOW;
  HAL_GPIO_Init(GPIOB, &GPIO_InitStruct);

  /*Configure GPIO pin : EPD_BUSY_Pin */
  GPIO_InitStruct.Pin = EPD_BUSY_Pin;
  GPIO_InitStruct.Mode = GPIO_MODE_INPUT;
  GPIO_InitStruct.Pull = GPIO_PULLUP;
  HAL_GPIO_Init(EPD_BUSY_GPIO_Port, &GPIO_InitStruct);

}

void Error_Handler(void)
{
}

/************************ (C) COPYRIGHT STMicroelectronics *****END OF FILE****/
